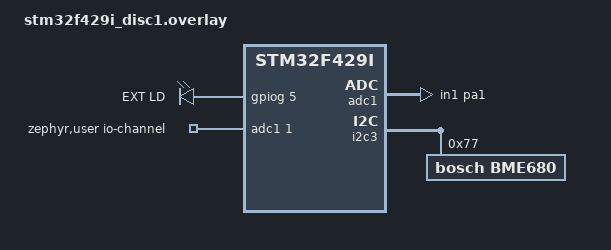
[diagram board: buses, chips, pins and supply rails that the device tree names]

/ {
    leds {
        // Add LED on PG5
        external_led: ext_led {
            gpios = <&gpiog 5 GPIO_ACTIVE_HIGH>;
            label = "EXT LD";
    };
    };
    aliases {
        led0 = &green_led_3;
        led1 = &red_led_4;
    };

    
    zephyr,user {
        /* adjust channel number according to pinmux in board.dts */
        io-channels = <&adc1 1>; /* ADC1_1 on pin PA_1 */
    };
    
    chosen {

        perso,bme680 = &bme680;
    };
};

&adc1 {
    pinctrl-0 = <&adc1_in1_pa1>;
    pinctrl-names = "default";
    st,adc-clock-source = <SYNC>;
    st,adc-prescaler = <4>;
    status = "okay";
};

&i2c3 {
    bme680: bme680@77 {
        compatible = "bosch,bme680";
        reg = <0x77>;
    };
};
